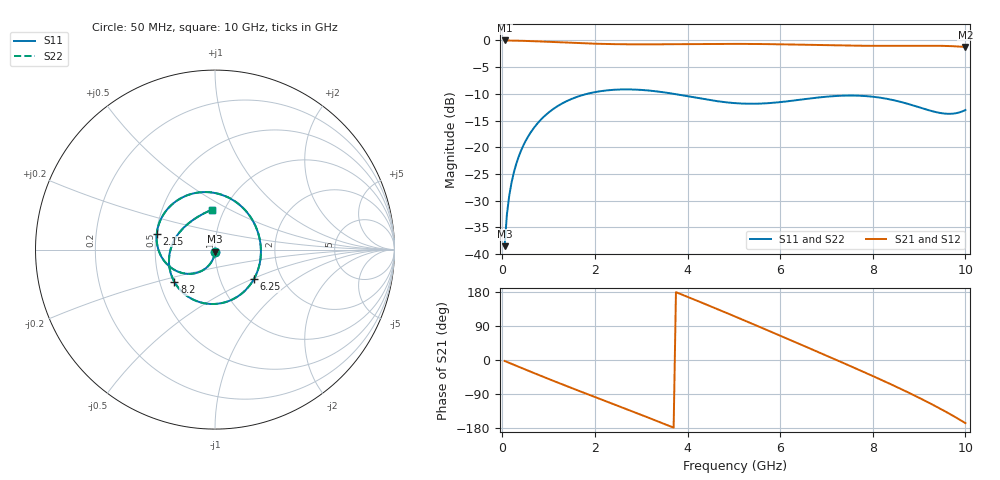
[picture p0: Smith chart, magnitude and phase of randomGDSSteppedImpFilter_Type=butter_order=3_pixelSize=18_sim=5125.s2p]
! freq	dB(S11)	phase(S11)	dB(S12)	phase(S12)
!  dB(S21)	phase(S21)	dB(S22)	phase(S22)
!S-par simulation data
#  GHz  S  DB  R 50
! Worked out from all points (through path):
!   200 points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, 50 MHz to 10 GHz, reference 50 ohm
!   highest |S21| = 0.00 dB at 50 MHz (marker M1); lowest = -1.2 dB at 10 GHz (marker M2)
!   group delay of S21, straight-line fit = 143 ps
!   lowest |S11| = -38.5 dB at 50 MHz (marker M3), VSWR 1.02, Z = 49.9 - j1.18 ohm
!   |S11| at or under -10 dB: start of sweep to 1.832 GHz; 3.702 GHz to end of sweep
!   |S22| runs from -38.5 to -9.2 dB; largest |S21 - S12| = 0
!   S11 on the Smith chart (normalised r, x): 50 MHz: 1.00, -0.02; 2.15 GHz: 0.50, +0.10; 6.25 GHz: 1.44, -0.52; 8.2 GHz: 0.60, -0.24; 10 GHz: 0.88, +0.41
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0.05  -38.52 -92.2  -0.00 -2.6  -0.00 -2.6  -38.52 -92.3
0.1  -32.54 -95.0  -0.01 -5.1  -0.01 -5.1  -32.54 -95.0
0.2  -26.61 -100.3  -0.03 -10.2  -0.03 -10.2  -26.61 -100.4
0.5  -18.89 -115.8  -0.09 -25.3  -0.09 -25.3  -18.89 -115.8
1.15  -12.54 -147.9  -0.32 -57.3  -0.32 -57.3  -12.54 -148.0
1.75  -10.19 -176.6  -0.54 -85.9  -0.54 -85.9  -10.19 -176.8
2.15  -9.47 164.6  -0.65 -104.7  -0.65 -104.7  -9.47 164.4
2.75  -9.17 136.5  -0.73 -132.9  -0.73 -132.9  -9.17 136.3
3.4  -9.61 105.6  -0.72 -163.9  -0.72 -163.9  -9.61 105.3
3.8  -10.14 86.2  -0.69 176.5  -0.69 176.5  -10.14 85.8
4.2  -10.75 66.5  -0.66 156.7  -0.66 156.7  -10.76 66.1
5.05  -11.76 23.9  -0.64 113.6  -0.64 113.6  -11.76 23.5
5.65  -11.80 -6.7  -0.68 82.5  -0.68 82.5  -11.80 -7.0
6.25  -11.30 -37.5  -0.76 51.1  -0.76 51.1  -11.30 -37.7
6.7  -10.81 -60.9  -0.84 27.4  -0.84 27.4  -10.81 -60.9
7.45  -10.32 -100.4  -0.97 -12.5  -0.97 -12.5  -10.32 -100.2
8.2  -10.77 -141.3  -1.01 -53.3  -1.01 -53.3  -10.77 -141.0
8.35  -11.01 -149.9  -1.01 -61.7  -1.01 -61.7  -11.00 -149.5
8.8  -11.98 -176.8  -0.99 -87.7  -0.99 -87.7  -11.98 -176.3
9.2  -13.04 157.0  -0.98 -112.0  -0.98 -112.0  -13.04 157.5
9.6  -13.73 127.5  -1.04 -138.1  -1.04 -138.1  -13.74 128.0
10  -13.03 94.3  -1.24 -166.5  -1.24 -166.5  -13.04 94.6
